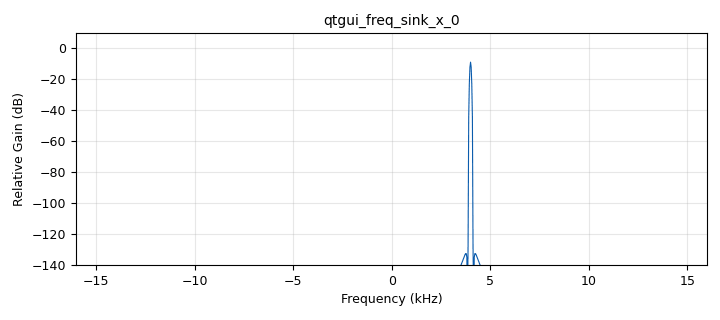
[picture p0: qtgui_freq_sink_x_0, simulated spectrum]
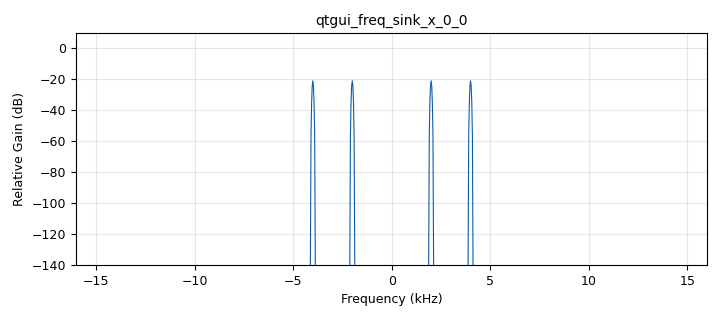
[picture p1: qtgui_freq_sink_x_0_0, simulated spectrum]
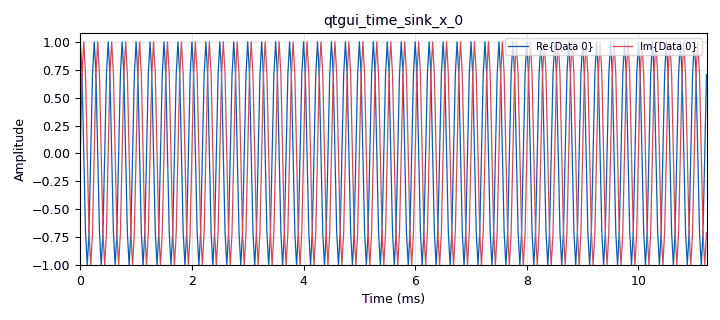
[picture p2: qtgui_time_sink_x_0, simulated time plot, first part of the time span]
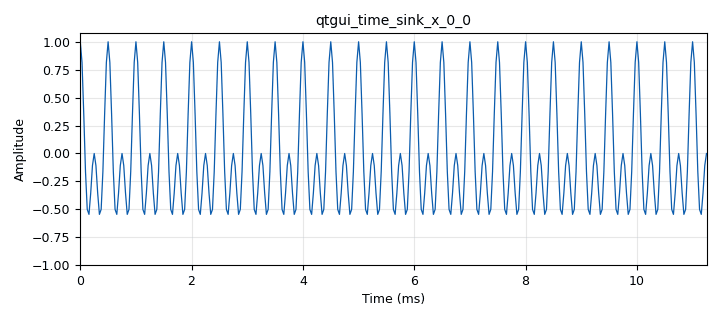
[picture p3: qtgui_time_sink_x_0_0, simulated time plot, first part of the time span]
options:
  parameters:
    author: jonas
    generate_options: qt_gui
    id: python_block
    output_language: python
    title: Not titled yet
  states: {}

blocks:
- name: samp_rate
  id: variable
  parameters:
    value: '32000'
  states: {}
- name: analog_sig_source_x_0
  id: analog_sig_source_x
  parameters:
    amp: '1'
    freq: '3000'
    offset: '0'
    phase: '0'
    samp_rate: samp_rate
    type: complex
    waveform: analog.GR_COS_WAVE
  states: {}
- name: analog_sig_source_x_0_0
  id: analog_sig_source_x
  parameters:
    amp: '1'
    freq: '1000'
    offset: '0'
    phase: '0'
    samp_rate: samp_rate
    type: complex
    waveform: analog.GR_COS_WAVE
  states: {}
- name: analog_sig_source_x_0_0_0
  id: analog_sig_source_x
  parameters:
    amp: '1'
    freq: '1000'
    offset: '0'
    phase: '0'
    samp_rate: samp_rate
    type: float
    waveform: analog.GR_COS_WAVE
  states: {}
- name: analog_sig_source_x_0_1
  id: analog_sig_source_x
  parameters:
    amp: '1'
    freq: '3000'
    offset: '0'
    phase: '0'
    samp_rate: samp_rate
    type: float
    waveform: analog.GR_COS_WAVE
  states: {}
- name: blocks_throttle2_0
  id: blocks_throttle2
  parameters:
    samples_per_second: samp_rate
    type: complex
  states: {}
- name: blocks_throttle2_0_0
  id: blocks_throttle2
  parameters:
    samples_per_second: samp_rate
    type: float
  states: {}
- name: epy_block_0
  id: epy_block
  parameters:
    _source_code: |
      """
      Embedded Python Blocks:

      Each time this file is saved, GRC will instantiate the first class it finds
      to get ports and parameters of your block. The arguments to __init__  will
      be the parameters. All of them are required to have default values!
      """

      import numpy as np
      from gnuradio import gr


      class blk(gr.sync_block):  # other base classes are basic_block, decim_block, interp_block
          """Embedded Python Block example - a simple multiply const"""

          def __init__(self, additionFlag=True):  # only default arguments here
              """arguments to this function show up as parameters in GRC"""
              gr.sync_block.__init__(
                  self,
                  name='Add or Multiply Block',   # will show up in GRC
                  in_sig=[np.complex64, np.complex64],
                  out_sig=[np.complex64]
              )
              # if an attribute with the same name as a parameter is found,
              # a callback is registered (properties work, too).
              self.additionFlag = additionFlag

          def work(self, input_items, output_items):
              """example: add or multiply based on flag"""
              if self.additionFlag:
                  output_items[0][:] = input_items[0][:] + input_items[1][:]
              else:
                  output_items[0][:] = input_items[0][:] * input_items[1][:]
              return len(output_items[0])
    additionFlag: 'False'
  states: {}
- name: epy_block_0_0
  id: epy_block
  parameters:
    _source_code: |
      """
      Embedded Python Blocks:

      Each time this file is saved, GRC will instantiate the first class it finds
      to get ports and parameters of your block. The arguments to __init__  will
      be the parameters. All of them are required to have default values!
      """

      import numpy as np
      from gnuradio import gr


      class blk(gr.sync_block):  # other base classes are basic_block, decim_block, interp_block
          """Embedded Python Block example - a simple multiply const"""

          def __init__(self, additionFlag=True):  # only default arguments here
              """arguments to this function show up as parameters in GRC"""
              gr.sync_block.__init__(
                  self,
                  name='Add or Multiply Block',   # will show up in GRC
                  in_sig=[np.float32, np.float32],
                  out_sig=[np.float32]
              )
              # if an attribute with the same name as a parameter is found,
              # a callback is registered (properties work, too).
              self.additionFlag = additionFlag

          def work(self, input_items, output_items):
              """example: add or multiply based on flag"""
              if self.additionFlag:
                  output_items[0][:] = input_items[0][:] + input_items[1][:]
              else:
                  output_items[0][:] = input_items[0][:] * input_items[1][:]
              return len(output_items[0])
    additionFlag: 'False'
  states: {}
- name: qtgui_freq_sink_x_0
  id: qtgui_freq_sink_x
  parameters:
    bw: samp_rate
    fc: '0'
    fftsize: '1024'
    type: complex
  states: {}
- name: qtgui_freq_sink_x_0_0
  id: qtgui_freq_sink_x
  parameters:
    bw: samp_rate
    fc: '0'
    fftsize: '1024'
    type: float
  states: {}
- name: qtgui_time_sink_x_0
  id: qtgui_time_sink_x
  parameters:
    size: '1024'
    srate: samp_rate
    type: complex
  states: {}
- name: qtgui_time_sink_x_0_0
  id: qtgui_time_sink_x
  parameters:
    size: '1024'
    srate: samp_rate
    type: float
  states: {}

connections:
- [analog_sig_source_x_0, '0', epy_block_0, '1']
- [analog_sig_source_x_0_0, '0', epy_block_0, '0']
- [analog_sig_source_x_0_0_0, '0', epy_block_0_0, '0']
- [analog_sig_source_x_0_1, '0', epy_block_0_0, '1']
- [blocks_throttle2_0, '0', qtgui_freq_sink_x_0, '0']
- [blocks_throttle2_0, '0', qtgui_time_sink_x_0, '0']
- [blocks_throttle2_0_0, '0', qtgui_freq_sink_x_0_0, '0']
- [blocks_throttle2_0_0, '0', qtgui_time_sink_x_0_0, '0']
- [epy_block_0, '0', blocks_throttle2_0, '0']
- [epy_block_0_0, '0', blocks_throttle2_0_0, '0']

metadata:
  file_format: 1
  grc_version: 3.10.10.0
